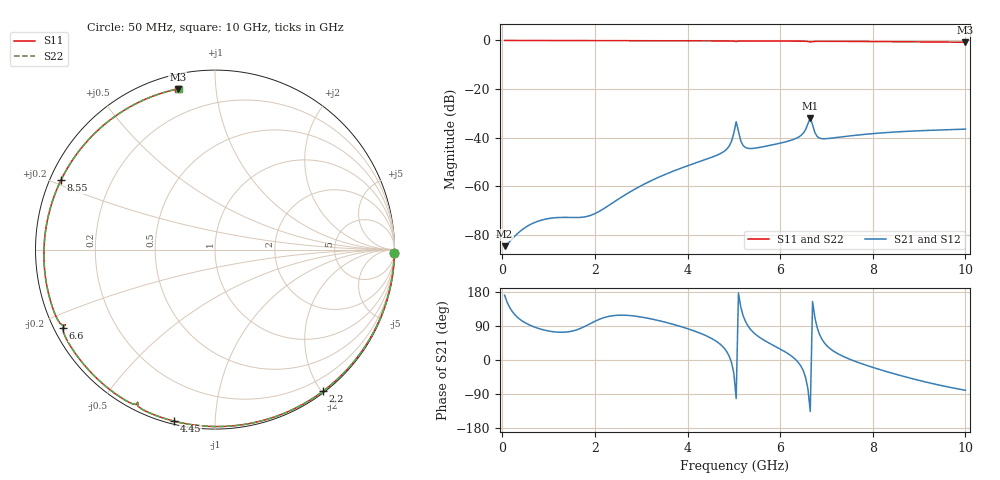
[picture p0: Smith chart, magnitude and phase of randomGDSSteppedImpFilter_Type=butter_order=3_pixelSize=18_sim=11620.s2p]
! freq	dB(S11)	phase(S11)	dB(S12)	phase(S12)
!  dB(S21)	phase(S21)	dB(S22)	phase(S22)
!S-par simulation data
#  GHz  S  DB  R 50
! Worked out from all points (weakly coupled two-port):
!   200 points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, 50 MHz to 10 GHz, reference 50 ohm
!   highest |S21| = -32.01 dB at 6.65 GHz (marker M1); lowest = -84.7 dB at 50 MHz (marker M2)
!   lowest |S11| = -0.7 dB at 10 GHz (marker M3), VSWR 23.67, Z = 3.44 + j39.6 ohm
!   |S11| at or under -10 dB: nowhere
!   |S22| runs from -0.7 to 0.0 dB; largest |S21 - S12| = 0
!   S11 on the Smith chart (normalised r, x): 50 MHz: 0, -94; 2.2 GHz: 0.02, -2.02; 4.45 GHz: 0.01, -0.79; 6.6 GHz: 0.03, -0.24; 8.55 GHz: 0.03, +0.21; 10 GHz: 0.07, +0.79
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0.05  -0.00 -1.2  -84.67 170.9  -84.67 170.9  -0.00 -1.2
0.3  -0.00 -7.3  -80.00 115.9  -80.00 115.9  -0.00 -7.3
0.9  -0.02 -21.9  -73.68 79.2  -73.68 79.2  -0.02 -21.9
1.75  -0.05 -42.1  -72.70 86.7  -72.70 86.7  -0.05 -42.1
2.2  -0.07 -52.6  -69.13 112.0  -69.13 112.0  -0.07 -52.6
3.4  -0.11 -80.0  -56.10 103.4  -56.10 103.4  -0.11 -80.0
4.45  -0.15 -103.4  -48.59 61.2  -48.59 61.2  -0.15 -103.4
4.9  -0.18 -113.6  -43.47 10.0  -43.47 10.0  -0.18 -113.5
5.05  -0.41 -116.9  -33.44 -101.8  -33.44 -101.8  -0.41 -116.9
5.2  -0.21 -119.5  -43.22 117.3  -43.22 117.3  -0.21 -119.5
5.35  -0.20 -123.0  -44.48 82.3  -44.48 82.3  -0.21 -123.0
6.35  -0.28 -146.1  -40.26 -0.8  -40.26 -0.8  -0.28 -146.2
6.5  -0.31 -149.9  -38.16 -28.5  -38.16 -28.5  -0.31 -150.0
6.6  -0.42 -152.8  -34.28 -76.4  -34.28 -76.4  -0.42 -152.8
6.65  -0.61 -153.3  -32.01 -135.7  -32.01 -135.7  -0.61 -153.3
6.7  -0.50 -153.2  -34.67 154.3  -34.67 154.3  -0.50 -153.2
6.8  -0.36 -155.9  -39.54 85.3  -39.54 85.3  -0.36 -155.9
6.9  -0.34 -158.6  -40.43 55.3  -40.43 55.3  -0.34 -158.6
8.35  -0.50 161.9  -37.83 -32.5  -37.83 -32.5  -0.50 161.8
8.55  -0.53 155.7  -37.59 -39.4  -37.59 -39.4  -0.53 155.6
9.25  -0.63 132.2  -36.98 -61.2  -36.98 -61.2  -0.63 132.0
10  -0.73 103.0  -36.49 -79.8  -36.49 -79.8  -0.74 102.8
